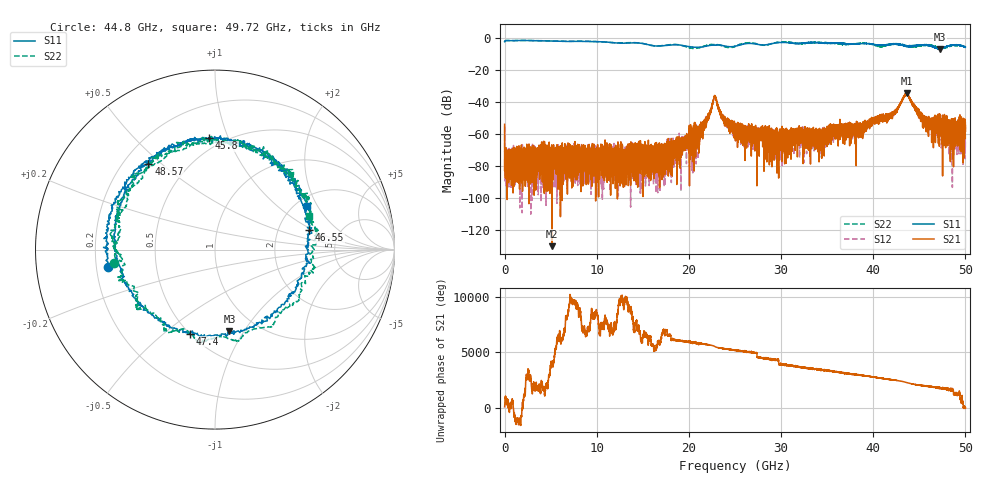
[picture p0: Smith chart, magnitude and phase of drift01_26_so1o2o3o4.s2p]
!Created with skrf (http://scikit-rf.org).
# Hz S RI R 50.0
!freq ReS11 ImS11 ReS21 ImS21 ReS12 ImS12 ReS22 ImS22
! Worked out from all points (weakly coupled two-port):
!   10001 points, 300 kHz to 50 GHz, reference 50 ohm
!   highest |S21| = -34.49 dB at 43.63 GHz (marker M1); lowest = -130.4 dB at 5.13 GHz (marker M2)
!   lowest |S11| = -6.7 dB at 47.21 GHz (marker M3), VSWR 2.72, Z = 37.4 - j43.3 ohm
!   |S11| at or under -10 dB: nowhere
!   |S22| runs from -6.5 to -1.4 dB; largest |S21 - S12| = 0.0044
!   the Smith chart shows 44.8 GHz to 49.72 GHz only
!   S11 on the Smith chart (normalised r, x): 44.8 GHz: 0.25, -0.08; 45.8 GHz: 0.42, +0.85; 46.55 GHz: 3.00, +0.92; 47.4 GHz: 0.50, -0.62; 48.57 GHz: 0.30, +0.45; 49.72 GHz: 2.29, +1.63
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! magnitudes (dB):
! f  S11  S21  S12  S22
! 300 kHz  -2.1  -54.0  -55.5  -2.1
! 255.3 MHz  -1.4  -77.9  -81.8  -1.4
! 5.13 GHz  -1.7  -130.4  -80.4  -1.6
! 8.335 GHz  -1.9  -74.8  -77.3  -1.8
! 16.67 GHz  -4.8  -78.7  -69.9  -4.8
! 20.92 GHz  -5.6  -59.7  -59.1  -6.1
! 22.8 GHz  -4.3  -35.9  -36.4  -4.0
! 23.71 GHz  -4.6  -50.1  -49.8  -4.9
! 25 GHz  -5.0  -53.6  -63.2  -5.1
! 29.87 GHz  -2.6  -67.1  -70.0  -2.5
! 33.34 GHz  -2.6  -63.5  -59.0  -2.7
! 38.26 GHz  -3.5  -57.8  -53.9  -3.3
! 41.67 GHz  -3.9  -49.5  -49.8  -4.3
! 43.63 GHz  -4.8  -34.5  -35.4  -5.2
! 44.8 GHz  -4.4  -45.2  -47.3  -4.9
! 45.8 GHz  -4.1  -49.8  -52.8  -4.3
! 46.55 GHz  -5.4  -49.6  -51.7  -4.9
! 47.21 GHz  -6.7  -55.6  -58.1  -5.8
! 47.4 GHz  -6.2  -55.5  -53.1  -5.8
! 48.57 GHz  -4.4  -60.0  -56.2  -4.5
! 49.72 GHz  -4.9  -58.2  -55.8  -5.1
! 50 GHz  -5.6  -54.6  -56.7  -5.3
